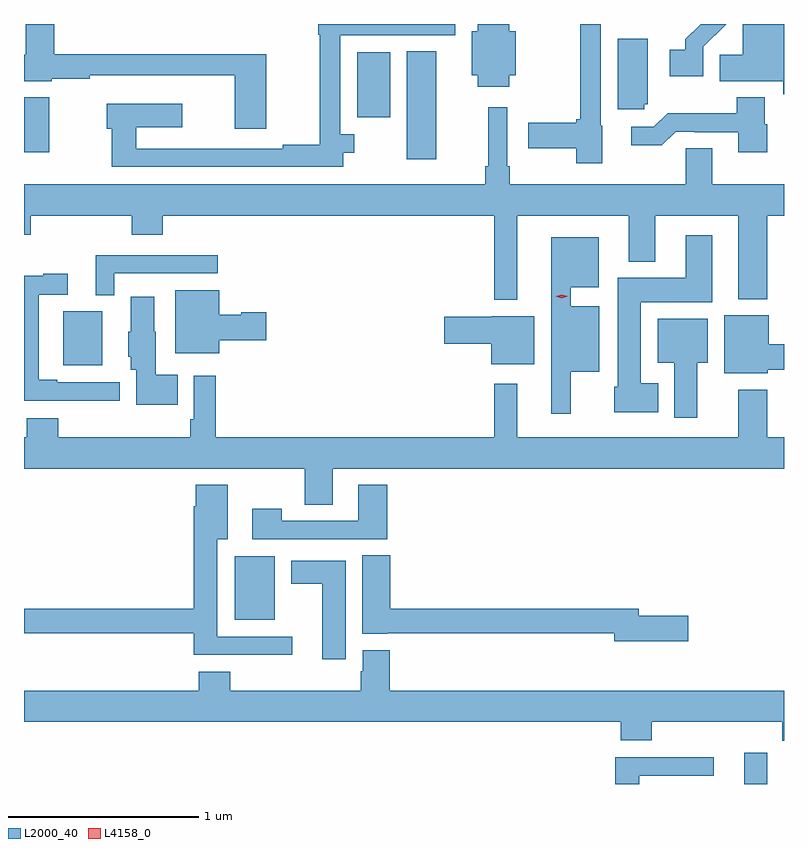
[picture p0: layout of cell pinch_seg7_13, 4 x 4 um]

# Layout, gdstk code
import gdstk
lib = gdstk.Library(unit=1e-6, precision=1e-09)
def R(c, l, rs):  # rectangles x0, y0, x1, y1
    for r in rs: c.add(gdstk.rectangle(r[:2], r[2:], *l))
def P(c, l, *ps):  # polygons
    for p in ps: c.add(gdstk.Polygon(p, *l))
L2000_40 = (2000, 40)
L4158_0 = (4158, 0)

pinch_seg7_13 = lib.new_cell('pinch_seg7_13')
R(pinch_seg7_13, L2000_40, [(1027.166,1049.572,1027.288,1049.737), (1024.484,1050.437,1024.696,1050.772), (1023.581,1051.775,1023.787,1052.059), (1025.39,1052.859,1025.545,1053.428), (1023.375,1052.898,1023.507,1053.187), (1025.129,1053.08,1025.302,1053.424)])
P(pinch_seg7_13, L2000_40, [(1026.418,1053.036),(1026.411,1053.036),(1026.411,1053.572),(1026.303,1053.572),(1026.303,1053.071),(1026.282,1053.071),(1026.282,1053.053),(1026.03,1053.053),(1026.03,1052.918),(1026.282,1052.918),(1026.282,1052.84),(1026.418,1052.84)],
  [(1024.65,1053.412),(1023.533,1053.412),(1023.533,1053.572),(1023.383,1053.572),(1023.383,1053.41),(1023.375,1053.41),(1023.375,1053.272),(1023.52,1053.272),(1023.52,1053.283),(1023.722,1053.283),(1023.722,1053.302),(1024.484,1053.302),(1024.484,1053.021),(1024.65,1053.021)],
  [(1026.951,1053.451),(1027.07,1053.57),(1027.07,1053.572),(1026.936,1053.572),(1026.854,1053.491),(1026.854,1053.436),(1026.774,1053.436),(1026.774,1053.296),(1026.951,1053.296)],
  [(1027.375,1053.572),(1027.157,1053.572),(1027.157,1053.41),(1027.036,1053.41),(1027.036,1053.272),(1027.37,1053.272),(1027.37,1053.201),(1027.375,1053.201)],
  [(1025.056,1052.894),(1025.113,1052.894),(1025.113,1052.991),(1025.04,1052.991),(1025.04,1053.513),(1025.644,1053.513),(1025.644,1053.572),(1024.924,1053.572),(1024.924,1053.516),(1024.932,1053.516),(1024.932,1052.936),(1024.738,1052.936),(1024.738,1052.916),(1023.965,1052.916),(1023.965,1053.029),(1024.207,1053.029),(1024.207,1053.151),(1023.811,1053.151),(1023.811,1053.022),(1023.837,1053.022),(1023.837,1052.82),(1025.056,1052.82)],
  [(1025.928,1053.302),(1025.962,1053.302),(1025.962,1053.535),(1025.928,1053.535),(1025.928,1053.572),(1025.762,1053.572),(1025.762,1053.535),(1025.732,1053.535),(1025.732,1053.302),(1025.762,1053.302),(1025.762,1053.242),(1025.928,1053.242)],
  [(1026.639,1053.15),(1026.658,1053.15),(1026.658,1053.494),(1026.5,1053.494),(1026.5,1053.123),(1026.639,1053.123)],
  [(1027.286,1053.045),(1027.273,1053.045),(1027.273,1053.187),(1027.126,1053.187),(1027.126,1053.103),(1026.763,1053.103),(1026.69,1053.03),(1026.57,1053.03),(1026.57,1052.933),(1026.731,1052.933),(1026.804,1053.006),(1026.904,1053.006),(1026.904,1053.003),(1027.133,1053.003),(1027.133,1052.898),(1027.286,1052.898)],
  [(1025.932,1052.824),(1025.919,1052.824),(1025.919,1053.133),(1025.818,1053.133),(1025.818,1052.824),(1025.803,1052.824),(1025.803,1052.728),(1023.375,1052.728),(1023.375,1052.462),(1023.41,1052.462),(1023.41,1052.564),(1023.941,1052.564),(1023.941,1052.462),(1024.106,1052.462),(1024.106,1052.564),(1025.85,1052.564),(1025.85,1052.12),(1025.971,1052.12),(1025.971,1052.564),(1026.557,1052.564),(1026.557,1052.321),(1026.697,1052.321),(1026.697,1052.564),(1027.133,1052.564),(1027.133,1052.123),(1027.286,1052.123),(1027.286,1052.564),(1027.375,1052.564),(1027.375,1052.728),(1026.997,1052.728),(1026.997,1052.918),(1026.858,1052.918),(1026.858,1052.728),(1025.932,1052.728)],
  [(1026.712,1051.681),(1026.622,1051.681),(1026.622,1052.108),(1026.997,1052.108),(1026.997,1052.461),(1026.857,1052.461),(1026.857,1052.236),(1026.5,1052.236),(1026.5,1051.662),(1026.482,1051.662),(1026.482,1051.529),(1026.712,1051.529)],
  [(1026.253,1051.742),(1026.403,1051.742),(1026.403,1052.086),(1026.253,1052.086),(1026.253,1052.186),(1026.4,1052.186),(1026.4,1052.449),(1026.149,1052.449),(1026.149,1051.521),(1026.253,1051.521)],
  [(1023.849,1052.259),(1024.396,1052.259),(1024.396,1052.355),(1023.752,1052.355),(1023.752,1052.144),(1023.849,1052.144)],
  [(1023.88,1051.686),(1023.55,1051.686),(1023.55,1051.699),(1023.453,1051.699),(1023.453,1052.148),(1023.604,1052.148),(1023.604,1052.257),(1023.476,1052.257),(1023.476,1052.246),(1023.375,1052.246),(1023.375,1051.59),(1023.637,1051.59),(1023.637,1051.589),(1023.88,1051.589)],
  [(1024.402,1051.907),(1024.651,1051.907),(1024.651,1052.054),(1024.518,1052.054),(1024.518,1052.041),(1024.402,1052.041),(1024.402,1052.17),(1024.172,1052.17),(1024.172,1051.838),(1024.402,1051.838)],
  [(1024.184,1051.726),(1024.069,1051.726),(1024.069,1051.953),(1024.06,1051.953),(1024.06,1052.137),(1023.938,1052.137),(1023.938,1051.953),(1023.923,1051.953),(1023.923,1051.821),(1023.938,1051.821),(1023.938,1051.752),(1023.965,1051.752),(1023.965,1051.568),(1024.184,1051.568)],
  [(1027.29,1051.751),(1027.375,1051.751),(1027.375,1051.886),(1027.294,1051.886),(1027.294,1052.038),(1027.061,1052.038),(1027.061,1051.733),(1027.29,1051.733)],
  [(1026.061,1052.035),(1025.838,1052.035),(1025.838,1052.03),(1025.586,1052.03),(1025.586,1051.888),(1025.834,1051.888),(1025.834,1051.781),(1026.061,1051.781)],
  [(1026.919,1051.79),(1026.973,1051.79),(1026.973,1052.02),(1026.71,1052.02),(1026.71,1051.79),(1026.797,1051.79),(1026.797,1051.5),(1026.919,1051.5)],
  [(1024.999,1051.232),(1027.375,1051.232),(1027.375,1051.396),(1027.286,1051.396),(1027.286,1051.648),(1027.133,1051.648),(1027.133,1051.396),(1025.971,1051.396),(1025.971,1051.678),(1025.85,1051.678),(1025.85,1051.396),(1024.385,1051.396),(1024.385,1051.72),(1024.269,1051.72),(1024.269,1051.492),(1024.249,1051.492),(1024.249,1051.396),(1023.554,1051.396),(1023.554,1051.498),(1023.389,1051.498),(1023.389,1051.396),(1023.375,1051.396),(1023.375,1051.232),(1024.852,1051.232),(1024.852,1051.042),(1024.999,1051.042)],
  [(1024.786,1050.348),(1024.393,1050.348),(1024.393,1050.86),(1024.447,1050.86),(1024.447,1051.147),(1024.28,1051.147),(1024.28,1051.034),(1024.268,1051.034),(1024.268,1050.494),(1023.375,1050.494),(1023.375,1050.366),(1024.268,1050.366),(1024.268,1050.251),(1024.786,1050.251)],
  [(1025.288,1051.147),(1025.135,1051.147),(1025.135,1050.957),(1024.731,1050.957),(1024.731,1051.021),(1024.575,1051.021),(1024.575,1050.861),(1025.288,1050.861)],
  [(1026.871,1050.458),(1026.61,1050.458),(1026.61,1050.494),(1025.303,1050.494),(1025.303,1050.776),(1025.156,1050.776),(1025.156,1050.362),(1025.286,1050.362),(1025.286,1050.366),(1026.482,1050.366),(1026.482,1050.323),(1026.871,1050.323)],
  [(1025.068,1050.748),(1024.781,1050.748),(1024.781,1050.626),(1024.946,1050.626),(1024.946,1050.228),(1025.068,1050.228)],
  [(1024.295,1050.163),(1024.295,1050.064),(1023.375,1050.064),(1023.375,1049.9),(1026.515,1049.9),(1026.515,1049.801),(1026.68,1049.801),(1026.68,1049.9),(1027.367,1049.9),(1027.367,1049.799),(1027.375,1049.799),(1027.375,1050.064),(1025.3,1050.064),(1025.3,1050.277),(1025.159,1050.277),(1025.159,1050.165),(1025.147,1050.165),(1025.147,1050.064),(1024.46,1050.064),(1024.46,1050.163)],
  [(1026.613,1049.616),(1027.006,1049.616),(1027.006,1049.714),(1026.488,1049.714),(1026.488,1049.572),(1026.613,1049.572)])
P(pinch_seg7_13, L4158_0, [(1026.204,1052.128),(1026.173,1052.138),(1026.173,1052.138),(1026.173,1052.138),(1026.204,1052.148),(1026.236,1052.138),(1026.236,1052.138),(1026.236,1052.138)])

lib.write_gds('pinch_seg7_13.gds')
